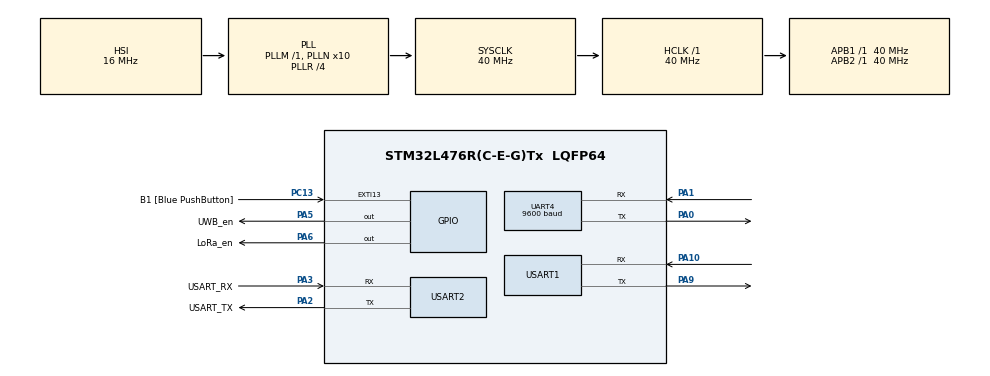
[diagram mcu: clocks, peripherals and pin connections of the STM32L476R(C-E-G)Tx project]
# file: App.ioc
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Mcu.Family=STM32L4
Mcu.Name=STM32L476R(C-E-G)Tx
Mcu.Package=LQFP64
NVIC.PriorityGroup=NVIC_PRIORITYGROUP_4
NVIC.TIM6_DAC_IRQn=true\:0\:0\:false\:false\:true\:true\:true
PA0.Mode=Asynchronous
PA0.Signal=UART4_TX
PA1.Mode=Asynchronous
PA1.Signal=UART4_RX
PA10.Mode=Asynchronous
PA10.Signal=USART1_RX
PA13\ (JTMS-SWDIO).GPIO_Label=TMS
PA13\ (JTMS-SWDIO).Mode=Serial_Wire
PA13\ (JTMS-SWDIO).Signal=SYS_JTMS-SWDIO
PA14\ (JTCK-SWCLK).GPIO_Label=TCK
PA14\ (JTCK-SWCLK).Mode=Serial_Wire
PA14\ (JTCK-SWCLK).Signal=SYS_JTCK-SWCLK
PA2.GPIO_Label=USART_TX
PA2.GPIO_Mode=GPIO_MODE_AF_PP
PA2.GPIO_PuPd=GPIO_NOPULL
PA2.GPIO_Speed=GPIO_SPEED_FREQ_VERY_HIGH
PA2.Mode=Asynchronous
PA2.Signal=USART2_TX
PA3.GPIO_Label=USART_RX
PA3.GPIO_Mode=GPIO_MODE_AF_PP
PA3.GPIO_PuPd=GPIO_NOPULL
PA3.GPIO_Speed=GPIO_SPEED_FREQ_VERY_HIGH
PA3.Mode=Asynchronous
PA3.Signal=USART2_RX
PA5.GPIO_Label=UWB_en
PA5.GPIO_ModeDefaultOutputPP=GPIO_MODE_OUTPUT_PP
PA5.GPIO_PuPd=GPIO_NOPULL
PA5.GPIO_Speed=GPIO_SPEED_FREQ_LOW
PA5.Signal=GPIO_Output
PA6.GPIO_Label=LoRa_en
PA6.Signal=GPIO_Output
PA9.Mode=Asynchronous
PA9.Signal=USART1_TX
PB3\ (JTDO-TRACESWO).GPIO_Label=SWO
PB3\ (JTDO-TRACESWO).Signal=SYS_JTDO-SWO
PC13.GPIO_Label=B1 [Blue PushButton]
PC13.GPIO_ModeDefaultEXTI=GPIO_MODE_IT_FALLING
PC13.GPIO_PuPd=GPIO_NOPULL
PC13.Signal=GPXTI13
PC14-OSC32_IN\ (PC14).Mode=LSE-External-Oscillator
PC14-OSC32_IN\ (PC14).Signal=RCC_OSC32_IN
PC15-OSC32_OUT\ (PC15).Mode=LSE-External-Oscillator
PC15-OSC32_OUT\ (PC15).Signal=RCC_OSC32_OUT
PH0-OSC_IN\ (PH0).Signal=RCC_OSC_IN
PH1-OSC_OUT\ (PH1).Signal=RCC_OSC_OUT
ProjectManager.HeapSize=0x200
ProjectManager.StackSize=0x400
ProjectManager.TargetToolchain=SW4STM32
RCC.ADCFreq_Value=64000000
RCC.AHBFreq_Value=40000000
RCC.APB1Freq_Value=40000000
RCC.APB1TimFreq_Value=40000000
RCC.APB2Freq_Value=40000000
RCC.APB2TimFreq_Value=40000000
RCC.CortexFreq_Value=40000000
RCC.HCLKFreq_Value=40000000
RCC.HSE_VALUE=8000000
RCC.HSI_VALUE=16000000
RCC.MSI_VALUE=4000000
RCC.PLLN=10
RCC.PLLR=RCC_PLLR_DIV4
RCC.PLLSourceVirtual=RCC_PLLSOURCE_HSI
RCC.PREFETCH_ENABLE=1
RCC.SYSCLKFreq_VALUE=40000000
RCC.SYSCLKSource=RCC_SYSCLKSOURCE_PLLCLK
RCC.USBFreq_Value=64000000
RCC.VCOOutputFreq_Value=160000000
TIM6.Period=0xFFFF
TIM6.Prescaler=0xFFFF
UART4.BaudRate=9600
USART1.VirtualMode-Asynchronous=VM_ASYNC
USART2.VirtualMode-Asynchronous=VM_ASYNC
VP_TIM6_VS_ClockSourceINT.Mode=Enable_Timer
board=NUCLEO-L476RG

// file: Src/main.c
/* USER CODE BEGIN Header */
/**
  ******************************************************************************
  * @file           : main.c
  * @brief          : Main program body
  ******************************************************************************
  * @attention
  *
  * <h2><center>&copy; Copyright (c) 2020 STMicroelectronics.
  * All rights reserved.</center></h2>
  *
  * This software component is licensed by ST under BSD 3-Clause license,
  * the "License"; You may not use this file except in compliance with the
  * License. You may obtain a copy of the License at:
  *                        opensource.org/licenses/BSD-3-Clause
  *
  ******************************************************************************
  */
/* USER CODE END Header */

#include "main.h"

/* USER CODE BEGIN Includes */
#include "./driver/dwm_api.h"
#include "stdio.h"
#include "string.h"
/* USER CODE END Includes */

/* USER CODE BEGIN PD */
#define TIMEOUT			1000
#define WAIT_TIME		15000
#define MAX_RESP_LEN	50
#define AT_TRUE			49

#define MINUTE			60000
#define TEN_SEC			10000
/* USER CODE END PD */

TIM_HandleTypeDef htim6;

UART_HandleTypeDef huart4;
UART_HandleTypeDef huart1;
UART_HandleTypeDef huart2;

/* USER CODE BEGIN PV */
dwm_loc_data_t loc;

const uint8_t * device_eui_prefix	="AT+DEUI=?\r\n";
uint8_t device_eui[20];

const uint8_t * app_key			="AT+APPKEY=04:fa:89:82:8f:71:1c:89:a9:4f:51:46:65:85:80:55\r\n";
const uint8_t * app_eui			="AT+APPEUI=70:B3:D5:7E:D0:03:02:92\r\n";
const uint8_t * data_rate		="AT+DR=7\r\n";
const uint8_t * class			="AT+CLASS=A\r\n";
const uint8_t * generic_send	="AT+SENDB=50:%lu\r\n";

const uint8_t * join			="AT+JOIN\r\n";
const uint8_t * njs				="AT+NJS=?\r\n";

const uint8_t * ok 				="\r\nOK\r\n";
/* USER CODE END PV */

void SystemClock_Config(void);
static void MX_GPIO_Init(void);
static void MX_UART4_Init(void);
static void MX_USART1_UART_Init(void);
static void MX_USART2_UART_Init(void);
static void MX_TIM6_Init(void);
/* USER CODE BEGIN PFP */
static void USER_AT_send(uint8_t * payload);
static void USER_check_njs(void);
static void USER_get_device_eui(void);

static void USER_enter_sleep_mode(void);
/* USER CODE END PFP */

int main(void)
{

  /* MCU Configuration--------------------------------------------------------*/

  /* Reset of all peripherals, Initializes the Flash interface and the Systick. */
  HAL_Init();

  /* Configure the system clock */
  SystemClock_Config();

  /* Initialize all configured peripherals */
  MX_GPIO_Init();
  MX_UART4_Init();
  MX_USART1_UART_Init();
  MX_USART2_UART_Init();
  MX_TIM6_Init();
  /* USER CODE BEGIN 2 */

  /* Sleep visual feedback */
  HAL_GPIO_WritePin(GPIOA,GPIO_PIN_5,GPIO_PIN_SET);

  /* LoRa */

  //USER_get_device_eui();

  USER_AT_send(app_key);
  USER_AT_send(app_eui);
  USER_AT_send(data_rate);
  USER_AT_send(class);

  /* UWB */

  dwm_init();
  char UWB_distance[50];

  /* USER CODE END 2 */

  /* Infinite loop */
  /* USER CODE BEGIN WHILE */
  while (1)
  {
	  USER_check_njs();
	  if(0 == dwm_loc_get(&loc)){
		  for(uint8_t i=0;i<loc.anchors.dist.cnt;i++)
		  {
			  sprintf(UWB_distance,generic_send,loc.anchors.dist.dist[i]);
			  USER_AT_send(UWB_distance);
		  }
	  }
	  USER_enter_sleep_mode();
    /* USER CODE END WHILE */

  }
}

void SystemClock_Config(void)
{
  RCC_OscInitTypeDef RCC_OscInitStruct = {0};
  RCC_ClkInitTypeDef RCC_ClkInitStruct = {0};
  RCC_PeriphCLKInitTypeDef PeriphClkInit = {0};

  /** Initializes the CPU, AHB and APB busses clocks
  */
  RCC_OscInitStruct.OscillatorType = RCC_OSCILLATORTYPE_HSI;
  RCC_OscInitStruct.HSIState = RCC_HSI_ON;
  RCC_OscInitStruct.HSICalibrationValue = RCC_HSICALIBRATION_DEFAULT;
  RCC_OscInitStruct.PLL.PLLState = RCC_PLL_ON;
  RCC_OscInitStruct.PLL.PLLSource = RCC_PLLSOURCE_HSI;
  RCC_OscInitStruct.PLL.PLLM = 1;
  RCC_OscInitStruct.PLL.PLLN = 10;
  RCC_OscInitStruct.PLL.PLLP = RCC_PLLP_DIV7;
  RCC_OscInitStruct.PLL.PLLQ = RCC_PLLQ_DIV2;
  RCC_OscInitStruct.PLL.PLLR = RCC_PLLR_DIV4;
  if (HAL_RCC_OscConfig(&RCC_OscInitStruct) != HAL_OK)
  {
    Error_Handler();
  }
  /** Initializes the CPU, AHB and APB busses clocks
  */
  RCC_ClkInitStruct.ClockType = RCC_CLOCKTYPE_HCLK|RCC_CLOCKTYPE_SYSCLK
                              |RCC_CLOCKTYPE_PCLK1|RCC_CLOCKTYPE_PCLK2;
  RCC_ClkInitStruct.SYSCLKSource = RCC_SYSCLKSOURCE_PLLCLK;
  RCC_ClkInitStruct.AHBCLKDivider = RCC_SYSCLK_DIV1;
  RCC_ClkInitStruct.APB1CLKDivider = RCC_HCLK_DIV1;
  RCC_ClkInitStruct.APB2CLKDivider = RCC_HCLK_DIV1;

  if (HAL_RCC_ClockConfig(&RCC_ClkInitStruct, FLASH_LATENCY_2) != HAL_OK)
  {
    Error_Handler();
  }
  PeriphClkInit.PeriphClockSelection = RCC_PERIPHCLK_USART1|RCC_PERIPHCLK_USART2
                              |RCC_PERIPHCLK_UART4;
  PeriphClkInit.Usart1ClockSelection = RCC_USART1CLKSOURCE_PCLK2;
  PeriphClkInit.Usart2ClockSelection = RCC_USART2CLKSOURCE_PCLK1;
  PeriphClkInit.Uart4ClockSelection = RCC_UART4CLKSOURCE_PCLK1;
  if (HAL_RCCEx_PeriphCLKConfig(&PeriphClkInit) != HAL_OK)
  {
    Error_Handler();
  }
  /** Configure the main internal regulator output voltage
  */
  if (HAL_PWREx_ControlVoltageScaling(PWR_REGULATOR_VOLTAGE_SCALE1) != HAL_OK)
  {
    Error_Handler();
  }
}

static void MX_TIM6_Init(void)
{

  TIM_MasterConfigTypeDef sMasterConfig = {0};

  htim6.Instance = TIM6;
  htim6.Init.Prescaler = 0xFFFF;
  htim6.Init.CounterMode = TIM_COUNTERMODE_UP;
  htim6.Init.Period = 0xFFFF;
  htim6.Init.AutoReloadPreload = TIM_AUTORELOAD_PRELOAD_DISABLE;
  if (HAL_TIM_Base_Init(&htim6) != HAL_OK)
  {
    Error_Handler();
  }
  sMasterConfig.MasterOutputTrigger = TIM_TRGO_RESET;
  sMasterConfig.MasterSlaveMode = TIM_MASTERSLAVEMODE_DISABLE;
  if (HAL_TIMEx_MasterConfigSynchronization(&htim6, &sMasterConfig) != HAL_OK)
  {
    Error_Handler();
  }

}

static void MX_UART4_Init(void)
{

  huart4.Instance = UART4;
  huart4.Init.BaudRate = 9600;
  huart4.Init.WordLength = UART_WORDLENGTH_8B;
  huart4.Init.StopBits = UART_STOPBITS_1;
  huart4.Init.Parity = UART_PARITY_NONE;
  huart4.Init.Mode = UART_MODE_TX_RX;
  huart4.Init.HwFlowCtl = UART_HWCONTROL_NONE;
  huart4.Init.OverSampling = UART_OVERSAMPLING_16;
  huart4.Init.OneBitSampling = UART_ONE_BIT_SAMPLE_DISABLE;
  huart4.AdvancedInit.AdvFeatureInit = UART_ADVFEATURE_NO_INIT;
  if (HAL_UART_Init(&huart4) != HAL_OK)
  {
    Error_Handler();
  }

}

static void MX_USART1_UART_Init(void)
{

  huart1.Instance = USART1;
  huart1.Init.BaudRate = 115200;
  huart1.Init.WordLength = UART_WORDLENGTH_8B;
  huart1.Init.StopBits = UART_STOPBITS_1;
  huart1.Init.Parity = UART_PARITY_NONE;
  huart1.Init.Mode = UART_MODE_TX_RX;
  huart1.Init.HwFlowCtl = UART_HWCONTROL_NONE;
  huart1.Init.OverSampling = UART_OVERSAMPLING_16;
  huart1.Init.OneBitSampling = UART_ONE_BIT_SAMPLE_DISABLE;
  huart1.AdvancedInit.AdvFeatureInit = UART_ADVFEATURE_NO_INIT;
  if (HAL_UART_Init(&huart1) != HAL_OK)
  {
    Error_Handler();
  }

}

static void MX_USART2_UART_Init(void)
{

  huart2.Instance = USART2;
  huart2.Init.BaudRate = 115200;
  huart2.Init.WordLength = UART_WORDLENGTH_8B;
  huart2.Init.StopBits = UART_STOPBITS_1;
  huart2.Init.Parity = UART_PARITY_NONE;
  huart2.Init.Mode = UART_MODE_TX_RX;
  huart2.Init.HwFlowCtl = UART_HWCONTROL_NONE;
  huart2.Init.OverSampling = UART_OVERSAMPLING_16;
  huart2.Init.OneBitSampling = UART_ONE_BIT_SAMPLE_DISABLE;
  huart2.AdvancedInit.AdvFeatureInit = UART_ADVFEATURE_NO_INIT;
  if (HAL_UART_Init(&huart2) != HAL_OK)
  {
    Error_Handler();
  }

}

static void MX_GPIO_Init(void)
{
  GPIO_InitTypeDef GPIO_InitStruct = {0};

  /* GPIO Ports Clock Enable */
  __HAL_RCC_GPIOC_CLK_ENABLE();
  __HAL_RCC_GPIOH_CLK_ENABLE();
  __HAL_RCC_GPIOA_CLK_ENABLE();
  __HAL_RCC_GPIOB_CLK_ENABLE();

  /*Configure GPIO pin Output Level */
  HAL_GPIO_WritePin(GPIOA, UWB_en_Pin|LoRa_en_Pin, GPIO_PIN_RESET);

  /*Configure GPIO pin : B1_Pin */
  GPIO_InitStruct.Pin = B1_Pin;
  GPIO_InitStruct.Mode = GPIO_MODE_IT_FALLING;
  GPIO_InitStruct.Pull = GPIO_NOPULL;
  HAL_GPIO_Init(B1_GPIO_Port, &GPIO_InitStruct);

  /*Configure GPIO pins : UWB_en_Pin LoRa_en_Pin */
  GPIO_InitStruct.Pin = UWB_en_Pin|LoRa_en_Pin;
  GPIO_InitStruct.Mode = GPIO_MODE_OUTPUT_PP;
  GPIO_InitStruct.Pull = GPIO_NOPULL;
  GPIO_InitStruct.Speed = GPIO_SPEED_FREQ_LOW;
  HAL_GPIO_Init(GPIOA, &GPIO_InitStruct);

}

/* USER CODE BEGIN 4 */

static void USER_AT_send(uint8_t * payload)
{
	uint8_t response[MAX_RESP_LEN];
	do
	{
		HAL_UART_Transmit(&huart4,payload,strlen(payload),TIMEOUT);
		HAL_UART_Receive(&huart4,response,MAX_RESP_LEN,TIMEOUT);
	}while(NULL == strstr(response,ok));
}

static void USER_check_njs(void)
{
	uint8_t response[MAX_RESP_LEN];
		do
		{
			HAL_UART_Transmit(&huart4,njs,strlen(njs),TIMEOUT);
			HAL_UART_Receive(&huart4,response,MAX_RESP_LEN,TIMEOUT);
			if(AT_TRUE == response[0])
			{
				break;
			}
			USER_AT_send(join);
			HAL_UART_Receive(&huart4,response,MAX_RESP_LEN,WAIT_TIME);
			if(NULL != strstr(response,"JOINED"))
			{
				break;
			}
		}while(1);
}

static void USER_get_device_eui(void)
{
	uint8_t response[MAX_RESP_LEN];
	uint8_t * eui;

	do
	{
		HAL_UART_Transmit(&huart4,device_eui_prefix,strlen(device_eui_prefix),TIMEOUT);
		HAL_UART_Receive(&huart4,response,MAX_RESP_LEN,TIMEOUT);
	}while(NULL == strstr(response,ok));
	eui = strtok(response,"\r\n");
	HAL_UART_Transmit(&huart2,device_eui_prefix,strlen(device_eui_prefix)-1,TIMEOUT);
	HAL_UART_Transmit(&huart2,eui,strlen(eui),TIMEOUT);

}

static void USER_enter_sleep_mode(void)
{
	  HAL_GPIO_WritePin(GPIOA,GPIO_PIN_5,GPIO_PIN_RESET);
	  HAL_TIM_Base_Start_IT(&htim6);
	  SysTick->CTRL &= ~SysTick_CTRL_ENABLE_Msk;
	  HAL_PWR_EnterSLEEPMode(PWR_MAINREGULATOR_ON, PWR_SLEEPENTRY_WFI);
	  SysTick->CTRL |= SysTick_CTRL_ENABLE_Msk;
	  HAL_TIM_Base_Stop_IT(&htim6);
	  HAL_GPIO_WritePin(GPIOA,GPIO_PIN_5,GPIO_PIN_SET);
}

/* USER CODE END 4 */

void Error_Handler(void)
{
}

/************************ (C) COPYRIGHT STMicroelectronics *****END OF FILE****/
